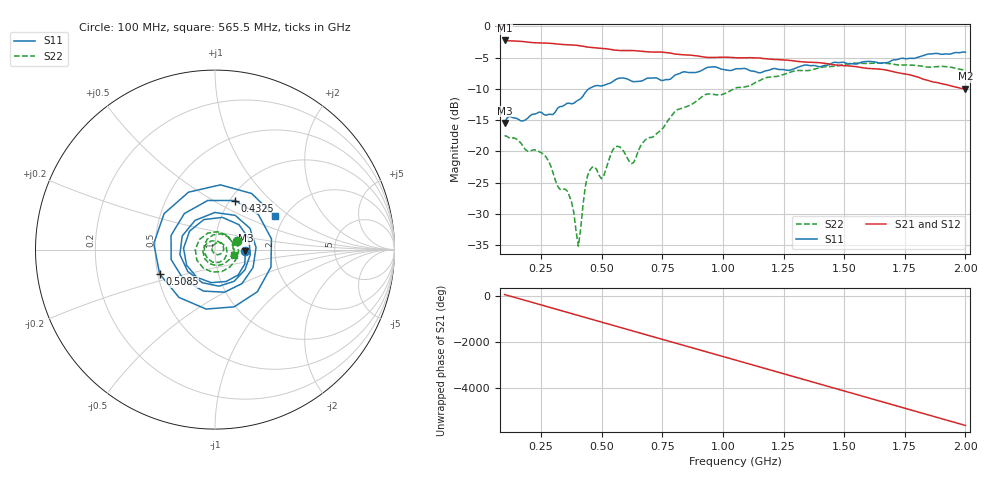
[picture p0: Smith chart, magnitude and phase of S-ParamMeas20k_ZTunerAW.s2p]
!Keysight Technologies,N5242B,MY48420967,A.15.65.19
!Date: Monday, December 19, 2022 08:48:37
!Correction: S11(C  2-Port  )
!S21(C  2-Port  )
!S12(C  2-Port  )
!S22(C  2-Port  )
!S2P File: Measurements: S11, S21, S12, S22:
# Hz S  dB  R 50
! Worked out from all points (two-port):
!   201 points, 100 MHz to 2 GHz, reference 50 ohm
!   highest |S21| = -2.26 dB at 100 MHz (marker M1); lowest = -10.0 dB at 2 GHz (marker M2)
!   |S21| within 3 dB of the highest: start of sweep to 1.198 GHz
!   lowest |S11| = -15.4 dB at 100 MHz (marker M3), VSWR 1.41, Z = 70.3 - j0.733 ohm
!   |S11| at or under -10 dB: start of sweep to 447.5 MHz
!   |S22| runs from -35.1 to -5.9 dB; largest |S21 - S12| = 0.00044
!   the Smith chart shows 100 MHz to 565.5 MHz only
!   S11 on the Smith chart (normalised r, x): 100 MHz: 1.41, -0.01; 432.5 MHz: 1.06, +0.63; 508.5 MHz: 0.51, -0.16; 565.5 MHz: 1.78, +0.78
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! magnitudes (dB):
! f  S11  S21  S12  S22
! 100 MHz  -15.4  -2.3  -2.3  -17.5
! 119 MHz  -14.4  -2.3  -2.3  -17.8
! 176 MHz  -15.1  -2.4  -2.4  -19.2
! 271 MHz  -14.2  -2.7  -2.7  -20.9
! 318.5 MHz  -13.1  -2.8  -2.8  -25.5
! 356.5 MHz  -12.3  -2.9  -2.9  -26.2
! 375.5 MHz  -12.4  -3.0  -3.0  -28.0
! 404 MHz  -11.8  -3.1  -3.1  -35.1
! 423 MHz  -11.2  -3.2  -3.2  -28.6
! 432.5 MHz  -10.6  -3.3  -3.3  -25.7
! 461 MHz  -9.7  -3.4  -3.4  -22.5
! 508.5 MHz  -9.5  -3.5  -3.5  -23.9
! 546.5 MHz  -8.8  -3.8  -3.8  -19.7
! 565.5 MHz  -8.4  -3.8  -3.8  -19.2
! 622.5 MHz  -8.8  -3.9  -3.9  -22.0
! 670 MHz  -8.7  -4.0  -4.0  -18.6
! 736.5 MHz  -8.5  -4.1  -4.1  -16.8
! 812.5 MHz  -7.7  -4.5  -4.5  -13.3
! 1.05 GHz  -6.8  -5.0  -5.0  -9.9
! 1.373 GHz  -6.3  -5.8  -5.8  -6.9
! 1.687 GHz  -5.7  -7.1  -7.1  -6.0
! 2 GHz  -4.1  -10.0  -10.0  -6.9
